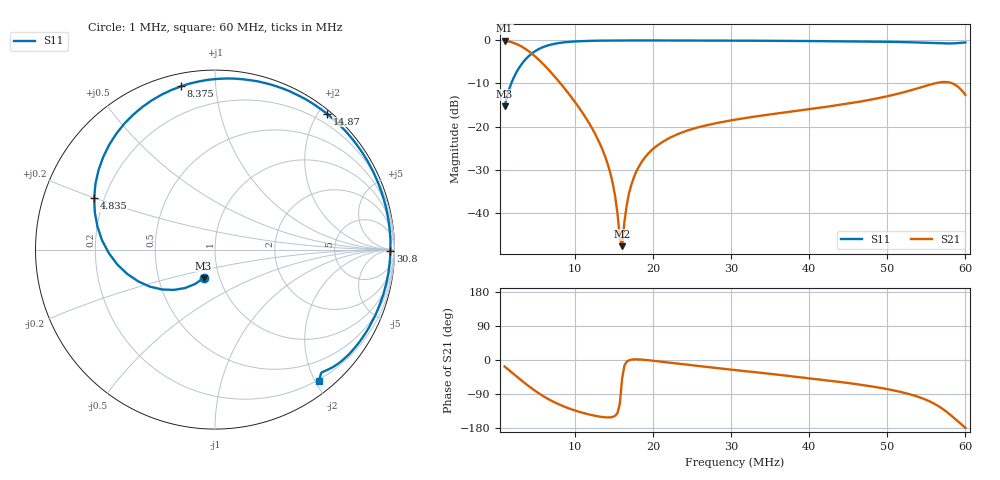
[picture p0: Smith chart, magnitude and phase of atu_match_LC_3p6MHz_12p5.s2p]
! S11/S21 from S-A-A-2 VNA
! Written 2026-11-14 07:54:57 by the saav2 MCP server
! S12 and S22 were not measured (1.5-port VNA) and are written as 0
# HZ S RI R 50
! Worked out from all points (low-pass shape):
!   201 points, 1 MHz to 60 MHz, reference 50 ohm
!   highest |S21| = -0.19 dB at 1 MHz (marker M1); lowest = -47.6 dB at 16.05 MHz (marker M2)
!   |S21| within 3 dB of the highest: start of sweep to 4.492 MHz
!   lowest |S11| = -15.4 dB at 1 MHz (marker M3), VSWR 1.41, Z = 42 - j13.7 ohm
!   |S11| at or under -10 dB: start of sweep to 1.864 MHz
!   S12 and S22 are empty: the file has one direction only
!   S11 on the Smith chart (normalised r, x): 1 MHz: 0.84, -0.27; 4.835 MHz: 0.16, +0.20; 8.375 MHz: 0.06, +0.81; 14.87 MHz: 0.05, +2.11; 30.8 MHz: 83, -22; 60 MHz: 0.19, -2.06
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1000000  -0.0636 -0.158  0.9342 -0.2898  0 0  0 0
2770000  -0.4271 -0.1776  0.5902 -0.644  0 0  0 0
4835000  -0.6733 0.2867  0.1101 -0.6431  0 0  0 0
6605000  -0.5051 0.7017  -0.104 -0.4426  0 0  0 0
8375000  -0.1888 0.91  -0.1523 -0.2553  0 0  0 0
1.103e7  0.2399 0.937  -0.1076 -0.0918  0 0  0 0
1.339e7  0.504 0.8382  -0.0503 -0.0288  0 0  0 0
1.4865e7  0.6226 0.7577  -0.0188 -0.0108  0 0  0 0
1.5455e7  0.6618 0.7241  -0.00758 -0.0064  0 0  0 0
1.575e7  0.6806 0.7073  -0.00224 -0.00468  0 0  0 0
1.6045e7  0.6982 0.6904  0.0027 -0.00318  0 0  0 0
1.6635e7  0.7304 0.6569  0.0123 -0.000948  0 0  0 0
1.752e7  0.7729 0.607  0.0255 0.000733  0 0  0 0
1.87e7  0.8201 0.5413  0.0408 0.000566  0 0  0 0
2.0765e7  0.8824 0.4322  0.0622 -0.00407  0 0  0 0
3.05e7  0.9775 0.00545  0.1073 -0.0534  0 0  0 0
3.0795e7  0.9777 -0.00589  0.1078 -0.0552  0 0  0 0
4.053e7  0.9107 -0.3253  0.1048 -0.1221  0 0  0 0
5.0265e7  0.7535 -0.5758  0.0472 -0.2212  0 0  0 0
5.646e7  0.6131 -0.6751  -0.1626 -0.2752  0 0  0 0
5.8525e7  0.5895 -0.6938  -0.274 -0.1421  0 0  0 0
6e7  0.58 -0.7296  -0.2315 -0.00463  0 0  0 0
